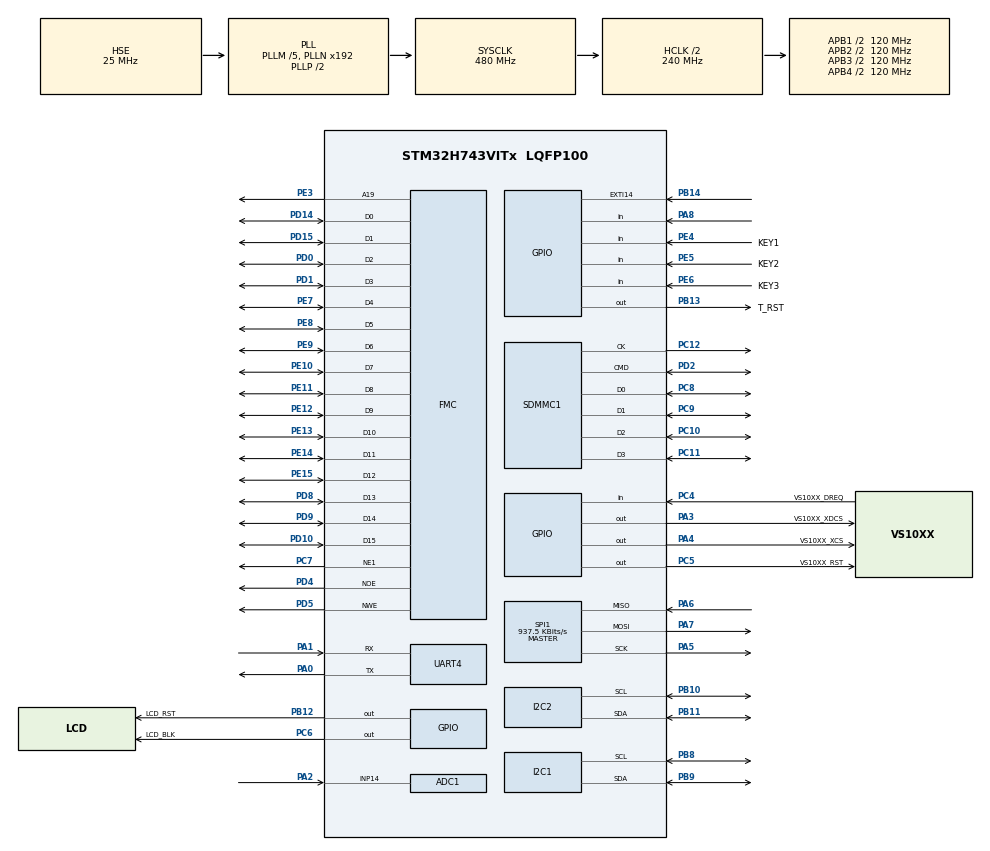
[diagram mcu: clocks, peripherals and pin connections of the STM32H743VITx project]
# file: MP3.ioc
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ADC1.Channel-0\#ChannelRegularConversion=ADC_CHANNEL_14
ADC1.ClockPrescaler=ADC_CLOCK_ASYNC_DIV10
ADC1.NbrOfConversionFlag=1
ADC1.OffsetNumber-0\#ChannelRegularConversion=ADC_OFFSET_NONE
ADC1.OffsetSignedSaturation-0\#ChannelRegularConversion=DISABLE
ADC1.Rank-0\#ChannelRegularConversion=1
ADC1.Resolution=ADC_RESOLUTION_12B
ADC1.SamplingTime-0\#ChannelRegularConversion=ADC_SAMPLETIME_16CYCLES_5
ADC1.master=1
CORTEX_M7.AccessPermission_Spec=MPU_REGION_FULL_ACCESS
CORTEX_M7.BaseAddress_Spec=0x60000000
CORTEX_M7.CPU_ICache=Enabled
CORTEX_M7.DisableExec_Spec=MPU_INSTRUCTION_ACCESS_ENABLE
CORTEX_M7.IsBufferable_Spec=MPU_ACCESS_BUFFERABLE
CORTEX_M7.IsCacheable_Spec=MPU_ACCESS_NOT_CACHEABLE
CORTEX_M7.IsShareable_Spec=MPU_ACCESS_NOT_SHAREABLE
CORTEX_M7.Size_Spec=MPU_REGION_SIZE_16MB
CORTEX_M7.SubRegionDisable_Spec=0x0
CORTEX_M7.default_mode_Activation=1
Dma.MEMTOMEM.0.Direction=DMA_MEMORY_TO_MEMORY
Dma.MEMTOMEM.0.EventEnable=DISABLE
Dma.MEMTOMEM.0.FIFOMode=DMA_FIFOMODE_ENABLE
Dma.MEMTOMEM.0.FIFOThreshold=DMA_FIFO_THRESHOLD_FULL
Dma.MEMTOMEM.0.Instance=DMA1_Stream4
Dma.MEMTOMEM.0.MemBurst=DMA_MBURST_SINGLE
Dma.MEMTOMEM.0.MemDataAlignment=DMA_MDATAALIGN_HALFWORD
Dma.MEMTOMEM.0.MemInc=DMA_MINC_ENABLE
Dma.MEMTOMEM.0.Mode=DMA_NORMAL
Dma.MEMTOMEM.0.PeriphBurst=DMA_PBURST_SINGLE
Dma.MEMTOMEM.0.PeriphDataAlignment=DMA_PDATAALIGN_HALFWORD
Dma.MEMTOMEM.0.PeriphInc=DMA_PINC_ENABLE
Dma.MEMTOMEM.0.Polarity=HAL_DMAMUX_REQ_GEN_RISING
Dma.MEMTOMEM.0.Priority=DMA_PRIORITY_VERY_HIGH
Dma.MEMTOMEM.0.RequestNumber=1
Dma.MEMTOMEM.0.SignalID=NONE
Dma.MEMTOMEM.0.SyncEnable=DISABLE
Dma.MEMTOMEM.0.SyncPolarity=HAL_DMAMUX_SYNC_NO_EVENT
Dma.MEMTOMEM.0.SyncRequestNumber=1
Dma.MEMTOMEM.0.SyncSignalID=NONE
Dma.Request0=MEMTOMEM
FATFS.BSP.number=1
FATFS._CODE_PAGE=936
FATFS._USE_LFN=2
FATFS0.BSP.STBoard=false
FATFS0.BSP.api=Unknown
FATFS0.BSP.instance=PA8
FATFS0.BSP.ip=GPIO
FATFS0.BSP.mode=Input
FATFS0.BSP.name=Detect_SDIO
FATFS0.BSP.solution=PA8
FMC.AddressSetupTime1=10
FMC.DataSetupTime1=60
FMC.ExtendedAddressSetupTime1=9
FMC.ExtendedBusTurnAroundDuration1=0
FMC.ExtendedDataSetupTime1=10
FMC.ExtendedMode1=FMC_EXTENDED_MODE_ENABLE
FREERTOS.Mutexes01=SensorMutex,Dynamic,NULL,Available
FREERTOS.Queues01=PlayerCmdQueue,8,player_msg_t,0,Dynamic,NULL,NULL
FREERTOS.Tasks01=defaultTask,8,128,StartDefaultTask,Default,NULL,Dynamic,NULL,NULL;FileReadTask,40,1024,StartFileReadTask,Default,NULL,Dynamic,NULL,NULL;AudioPlayTask,48,512,StartAudioPlayTask,Default,NULL,Dynamic,NULL,NULL;GuiUpdateTask,16,1024,StartGuiUpdateTask,Default,NULL,Dynamic,NULL,NULL;TouchTask,32,128,StartTouchTask,Default,NULL,Dynamic,NULL,NULL;KeyScanTask,24,128,StartKeyScanTask,Default,NULL,Dynamic,NULL,NULL;SensorTask,15,512,StartSensorTask,Default,NULL,Dynamic,NULL,NULL;RtcTask,8,128,StartRtcTask,Default,NULL,Dynamic,NULL,NULL;ControlTask,24,512,StartControlTask,Default,NULL,Dynamic,NULL,NULL
FREERTOS.Timers01=PlayerTimer,CallbackPlayerTimer,osTimerOnce,Default,NULL,Dynamic,NULL
FREERTOS.configTOTAL_HEAP_SIZE=65536
FREERTOS.configUSE_NEWLIB_REENTRANT=1
FREERTOS.configUSE_TICK_HOOK=1
I2C1.Timing=0x307075B1
I2C2.Timing=0x307075B1
Mcu.Family=STM32H7
Mcu.Name=STM32H743VITx
Mcu.Package=LQFP100
Mdma.MDMA_Channel0.Request0=SDMMC1_END_DATA
Mdma.MDMA_Channel0.RequestsNb=1
Mdma.MDMA_Channel0.SDMMC1_END_DATA.0.BlockCount=0
Mdma.MDMA_Channel0.SDMMC1_END_DATA.0.BlockDataLength=0
Mdma.MDMA_Channel0.SDMMC1_END_DATA.0.BufferTransferLength=1
Mdma.MDMA_Channel0.SDMMC1_END_DATA.0.CircularMode=MDMA_LINEAR_LIST
Mdma.MDMA_Channel0.SDMMC1_END_DATA.0.DataAlignment=MDMA_DATAALIGN_PACKENABLE
Mdma.MDMA_Channel0.SDMMC1_END_DATA.0.DestBlockAddressOffset=0
Mdma.MDMA_Channel0.SDMMC1_END_DATA.0.DestBurst=MDMA_DEST_BURST_SINGLE
Mdma.MDMA_Channel0.SDMMC1_END_DATA.0.DestDataSize=MDMA_DEST_DATASIZE_BYTE
Mdma.MDMA_Channel0.SDMMC1_END_DATA.0.DestinationInc=MDMA_DEST_INC_BYTE
Mdma.MDMA_Channel0.SDMMC1_END_DATA.0.DstAddress=0
Mdma.MDMA_Channel0.SDMMC1_END_DATA.0.Endianness=MDMA_LITTLE_ENDIANNESS_PRESERVE
Mdma.MDMA_Channel0.SDMMC1_END_DATA.0.Instance=MDMA_Channel0
Mdma.MDMA_Channel0.SDMMC1_END_DATA.0.MaskAddress=0
Mdma.MDMA_Channel0.SDMMC1_END_DATA.0.MaskData=0
Mdma.MDMA_Channel0.SDMMC1_END_DATA.0.Priority=MDMA_PRIORITY_LOW
Mdma.MDMA_Channel0.SDMMC1_END_DATA.0.Rank=First
Mdma.MDMA_Channel0.SDMMC1_END_DATA.0.SourceBlockAddressOffset=0
Mdma.MDMA_Channel0.SDMMC1_END_DATA.0.SourceBurst=MDMA_SOURCE_BURST_SINGLE
Mdma.MDMA_Channel0.SDMMC1_END_DATA.0.SourceDataSize=MDMA_SRC_DATASIZE_BYTE
Mdma.MDMA_Channel0.SDMMC1_END_DATA.0.SourceInc=MDMA_SRC_INC_BYTE
Mdma.MDMA_Channel0.SDMMC1_END_DATA.0.SrcAddress=0
Mdma.MDMA_Channel0.SDMMC1_END_DATA.0.TransferTriggerMode=MDMA_BUFFER_TRANSFER
Mdma.RequestSet0=MDMA_Channel0
Mdma.RequestSetsNb=1
NVIC.DMA1_Stream4_IRQn=true\:1\:0\:true\:false\:true\:false\:true\:true\:true
NVIC.EXTI15_10_IRQn=true\:6\:0\:true\:false\:true\:true\:true\:true\:true
NVIC.MDMA_IRQn=true\:5\:0\:false\:false\:true\:true\:false\:true\:true
NVIC.PriorityGroup=NVIC_PRIORITYGROUP_4
NVIC.RTC_Alarm_IRQn=true\:5\:0\:false\:false\:true\:true\:true\:true\:true
NVIC.SDMMC1_IRQn=true\:5\:0\:false\:false\:true\:true\:true\:true\:true
NVIC.TIM6_DAC_IRQn=true\:15\:0\:false\:false\:true\:false\:false\:true\:true
NVIC.TimeBase=TIM6_DAC_IRQn
NVIC.TimeBaseIP=TIM6
PA0.Mode=Asynchronous
PA0.Signal=UART4_TX
PA1.Mode=Asynchronous
PA1.Signal=UART4_RX
PA13\ (JTMS/SWDIO).Mode=Serial_Wire
PA13\ (JTMS/SWDIO).Signal=DEBUG_JTMS-SWDIO
PA14\ (JTCK/SWCLK).Mode=Serial_Wire
PA14\ (JTCK/SWCLK).Signal=DEBUG_JTCK-SWCLK
PA2.Signal=ADCx_INP14
PA3.GPIO_Label=VS10XX_XDCS
PA3.PinState=GPIO_PIN_SET
PA3.Signal=GPIO_Output
PA4.GPIO_Label=VS10XX_XCS
PA4.PinState=GPIO_PIN_SET
PA4.Signal=GPIO_Output
PA5.Mode=Full_Duplex_Master
PA5.Signal=SPI1_SCK
PA6.Mode=Full_Duplex_Master
PA6.Signal=SPI1_MISO
PA7.Mode=Full_Duplex_Master
PA7.Signal=SPI1_MOSI
PA8.Signal=GPIO_Input
PB10.Mode=I2C
PB10.Signal=I2C2_SCL
PB11.Mode=I2C
PB11.Signal=I2C2_SDA
PB12.GPIO_Label=LCD_RST
PB12.Signal=GPIO_Output
PB13.GPIO_Label=T_RST
PB13.Signal=GPIO_Output
PB14.GPIO_ModeDefaultEXTI=GPIO_MODE_IT_FALLING
PB14.Signal=GPXTI14
PB8.Mode=I2C
PB8.Signal=I2C1_SCL
PB9.Mode=I2C
PB9.Signal=I2C1_SDA
PC10.Mode=SD_4_bits_Wide_bus
PC10.Signal=SDMMC1_D2
PC11.Mode=SD_4_bits_Wide_bus
PC11.Signal=SDMMC1_D3
PC12.Mode=SD_4_bits_Wide_bus
PC12.Signal=SDMMC1_CK
PC14-OSC32_IN\ (OSC32_IN).Mode=LSE-External-Oscillator
PC14-OSC32_IN\ (OSC32_IN).Signal=RCC_OSC32_IN
PC15-OSC32_OUT\ (OSC32_OUT).Mode=LSE-External-Oscillator
PC15-OSC32_OUT\ (OSC32_OUT).Signal=RCC_OSC32_OUT
PC4.GPIO_Label=VS10XX_DREQ
PC4.Signal=GPIO_Input
PC5.GPIO_Label=VS10XX_RST
PC5.Signal=GPIO_Output
PC6.GPIO_Label=LCD_BLK
PC6.Signal=GPIO_Output
PC7.Mode=NorPsramChipSelect1_1
PC7.Signal=FMC_NE1
PC8.Mode=SD_4_bits_Wide_bus
PC8.Signal=SDMMC1_D0
PC9.Mode=SD_4_bits_Wide_bus
PC9.Signal=SDMMC1_D1
PD0.Signal=FMC_D2_DA2
PD1.Signal=FMC_D3_DA3
PD10.Signal=FMC_D15_DA15
PD14.Signal=FMC_D0_DA0
PD15.Signal=FMC_D1_DA1
PD2.Mode=SD_4_bits_Wide_bus
PD2.Signal=SDMMC1_CMD
PD4.Signal=FMC_NOE
PD5.Signal=FMC_NWE
PD8.Signal=FMC_D13_DA13
PD9.Signal=FMC_D14_DA14
PE10.Signal=FMC_D7_DA7
PE11.Signal=FMC_D8_DA8
PE12.Signal=FMC_D9_DA9
PE13.Signal=FMC_D10_DA10
PE14.Signal=FMC_D11_DA11
PE15.Signal=FMC_D12_DA12
PE3.Signal=FMC_A19
PE4.GPIO_Label=KEY1
PE4.Signal=GPIO_Input
PE5.GPIO_Label=KEY2
PE5.Signal=GPIO_Input
PE6.GPIO_Label=KEY3
PE6.Signal=GPIO_Input
PE7.Signal=FMC_D4_DA4
PE8.Signal=FMC_D5_DA5
PE9.Signal=FMC_D6_DA6
PH0-OSC_IN\ (PH0).Mode=HSE-External-Oscillator
PH0-OSC_IN\ (PH0).Signal=RCC_OSC_IN
PH1-OSC_OUT\ (PH1).Mode=HSE-External-Oscillator
PH1-OSC_OUT\ (PH1).Signal=RCC_OSC_OUT
ProjectManager.HeapSize=0x1000
ProjectManager.StackSize=0x1500
ProjectManager.TargetToolchain=STM32CubeIDE
RCC.ADCCLockSelection=RCC_ADCCLKSOURCE_PLL3
RCC.ADCFreq_Value=100000000
RCC.APB1Freq_Value=120000000
RCC.APB2Freq_Value=120000000
RCC.APB3Freq_Value=120000000
RCC.APB4Freq_Value=120000000
RCC.CortexFreq_Value=480000000
RCC.D1PPRE=RCC_APB3_DIV2
RCC.D2PPRE1=RCC_APB1_DIV2
RCC.D2PPRE2=RCC_APB2_DIV2
RCC.D3PPRE=RCC_APB4_DIV2
RCC.DIVM1=5
RCC.DIVM2=5
RCC.DIVM3=5
RCC.DIVN1=192
RCC.DIVN2=192
RCC.DIVN3=100
RCC.DIVP3=5
RCC.DIVQ1=8
RCC.DIVQ2=10
RCC.DIVR2=8
RCC.DIVR3=5
RCC.HCLKFreq_Value=240000000
RCC.HPRE=RCC_HCLK_DIV2
RCC.PLLFRACN=0
RCC.PLLSourceVirtual=RCC_PLLSOURCE_HSE
RCC.RTCClockSelection=RCC_RTCCLKSOURCE_LSE
RCC.SDMMC1CLockSelection=RCC_SDMMCCLKSOURCE_PLL2
RCC.SYSCLKFreq_VALUE=480000000
RCC.SYSCLKSource=RCC_SYSCLKSOURCE_PLLCLK
RCC.USBFreq_Value=120000000
RTC.Alarm-Alarm\ A=RTC_ALARM_A
RTC.AlarmMaskDateWeekDay-Alarm\ A=RTC_ALARMMASK_DATEWEEKDAY
RTC.AlarmMaskHours-Alarm\ A=RTC_ALARMMASK_HOURS
RTC.AlarmMaskMinutes-Alarm\ A=RTC_ALARMMASK_MINUTES
RTC.Date=26
RTC.Hours=12
RTC.Minutes=10
RTC.Month=RTC_MONTH_MARCH
RTC.Seconds_A-Alarm\ A=12
RTC.WeekDay=RTC_WEEKDAY_THURSDAY
RTC.Year=26
SDMMC1.ClockDiv=5
SH.ADCx_INP14.0=ADC1_INP14,IN14-Single-Ended
SH.FMC_A19.0=FMC_A19,A19_1
SH.FMC_D0_DA0.0=FMC_D0,16b-d1
SH.FMC_D10_DA10.0=FMC_D10,16b-d1
SH.FMC_D11_DA11.0=FMC_D11,16b-d1
SH.FMC_D12_DA12.0=FMC_D12,16b-d1
SH.FMC_D13_DA13.0=FMC_D13,16b-d1
SH.FMC_D14_DA14.0=FMC_D14,16b-d1
SH.FMC_D15_DA15.0=FMC_D15,16b-d1
SH.FMC_D1_DA1.0=FMC_D1,16b-d1
SH.FMC_D2_DA2.0=FMC_D2,16b-d1
SH.FMC_D3_DA3.0=FMC_D3,16b-d1
SH.FMC_D4_DA4.0=FMC_D4,16b-d1
SH.FMC_D5_DA5.0=FMC_D5,16b-d1
SH.FMC_D6_DA6.0=FMC_D6,16b-d1
SH.FMC_D7_DA7.0=FMC_D7,16b-d1
SH.FMC_D8_DA8.0=FMC_D8,16b-d1
SH.FMC_D9_DA9.0=FMC_D9,16b-d1
SH.FMC_NOE.0=FMC_NOE,Lcd1
SH.FMC_NWE.0=FMC_NWE,Lcd1
SPI1.BaudRatePrescaler=SPI_BAUDRATEPRESCALER_128
SPI1.CLKPhase=SPI_PHASE_2EDGE
SPI1.CLKPolarity=SPI_POLARITY_HIGH
SPI1.CalculateBaudRate=937.5 KBits/s
SPI1.DataSize=SPI_DATASIZE_8BIT
SPI1.Direction=SPI_DIRECTION_2LINES
SPI1.Mode=SPI_MODE_MASTER
SPI1.NSSPMode=SPI_NSS_PULSE_DISABLE
SPI1.VirtualType=VM_MASTER
VP_FATFS_VS_SDIO.Mode=SDIO
VP_FREERTOS_VS_CMSIS_V2.Mode=CMSIS_V2
VP_MEMORYMAP_VS_MEMORYMAP.Mode=CurAppReg
VP_RTC_VS_RTC_Activate.Mode=RTC_Enabled
VP_RTC_VS_RTC_Alarm_A_Intern.Mode=Alarm A
VP_RTC_VS_RTC_Calendar.Mode=RTC_Calendar
VP_SYS_VS_tim6.Mode=TIM6
board=custom

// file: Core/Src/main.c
/* USER CODE BEGIN Header */
/**
  ******************************************************************************
  * @file           : main.c
  * @brief          : Main program body
  ******************************************************************************
  * @attention
  *
  * Copyright (c) 2026 STMicroelectronics.
  * All rights reserved.
  *
  * This software is licensed under terms that can be found in the LICENSE file
  * in the root directory of this software component.
  * If no LICENSE file comes with this software, it is provided AS-IS.
  *
  ******************************************************************************
  */
/* USER CODE END Header */
#include "main.h"
#include "FreeRTOS.h"
#include "cmsis_os2.h"
#include "adc.h"
#include "dma.h"
#include "fatfs.h"
#include "i2c.h"
#include "mdma.h"
#include "rtc.h"
#include "sdmmc.h"
#include "spi.h"
#include "usart.h"
#include "gpio.h"
#include "fmc.h"

/* USER CODE BEGIN Includes */
#include "debug_uart.h"

#include "task.h"
#include "lvgl.h"
#include "lv_port_disp.h"
#include "lv_port_indev.h"

/* USER CODE END Includes */

/* USER CODE BEGIN PV */
extern osThreadId_t TouchTaskHandle;
extern osThreadId_t RtcTaskHandle;
/* USER CODE END PV */

void SystemClock_Config(void);
static void MPU_Config(void);
void MX_FREERTOS_Init(void);

int main(void)
{

  /* MPU Configuration--------------------------------------------------------*/
  MPU_Config();

  /* Enable the CPU Cache */

  /* Enable I-Cache---------------------------------------------------------*/
  SCB_EnableICache();

  /* MCU Configuration--------------------------------------------------------*/

  /* Reset of all peripherals, Initializes the Flash interface and the Systick. */
  HAL_Init();

  /* Configure the system clock */
  SystemClock_Config();

  /* Initialize all configured peripherals */
  MX_GPIO_Init();
  MX_MDMA_Init();
  MX_DMA_Init();
  MX_SDMMC1_SD_Init();
  MX_UART4_Init();
  MX_FATFS_Init();
  MX_ADC1_Init();
  MX_FMC_Init();
  MX_I2C1_Init();
  MX_I2C2_Init();
  MX_SPI1_Init();
  MX_RTC_Init();
  /* USER CODE BEGIN 2 */
  DMA_Register();
  lv_init();
  lv_port_disp_init();
  lv_port_indev_init();
  /* USER CODE END 2 */

  /* Init scheduler */
  osKernelInitialize();  /* Call init function for freertos objects (in cmsis_os2.c) */
  MX_FREERTOS_Init();

  /* Start scheduler */
  osKernelStart();

  /* We should never get here as control is now taken by the scheduler */

  /* Infinite loop */
  while (1)
  {

  }
}

void SystemClock_Config(void)
{
  RCC_OscInitTypeDef RCC_OscInitStruct = {0};
  RCC_ClkInitTypeDef RCC_ClkInitStruct = {0};

  /** Supply configuration update enable
  */
  HAL_PWREx_ConfigSupply(PWR_LDO_SUPPLY);

  /** Configure the main internal regulator output voltage
  */
  __HAL_PWR_VOLTAGESCALING_CONFIG(PWR_REGULATOR_VOLTAGE_SCALE0);

  while(!__HAL_PWR_GET_FLAG(PWR_FLAG_VOSRDY)) {}

  /** Configure LSE Drive Capability
  */
  HAL_PWR_EnableBkUpAccess();
  __HAL_RCC_LSEDRIVE_CONFIG(RCC_LSEDRIVE_LOW);

  /** Initializes the RCC Oscillators according to the specified parameters
  * in the RCC_OscInitTypeDef structure.
  */
  RCC_OscInitStruct.OscillatorType = RCC_OSCILLATORTYPE_HSE|RCC_OSCILLATORTYPE_LSE;
  RCC_OscInitStruct.HSEState = RCC_HSE_ON;
  RCC_OscInitStruct.LSEState = RCC_LSE_ON;
  RCC_OscInitStruct.PLL.PLLState = RCC_PLL_ON;
  RCC_OscInitStruct.PLL.PLLSource = RCC_PLLSOURCE_HSE;
  RCC_OscInitStruct.PLL.PLLM = 5;
  RCC_OscInitStruct.PLL.PLLN = 192;
  RCC_OscInitStruct.PLL.PLLP = 2;
  RCC_OscInitStruct.PLL.PLLQ = 8;
  RCC_OscInitStruct.PLL.PLLR = 2;
  RCC_OscInitStruct.PLL.PLLRGE = RCC_PLL1VCIRANGE_2;
  RCC_OscInitStruct.PLL.PLLVCOSEL = RCC_PLL1VCOWIDE;
  RCC_OscInitStruct.PLL.PLLFRACN = 0;
  if (HAL_RCC_OscConfig(&RCC_OscInitStruct) != HAL_OK)
  {
    Error_Handler();
  }

  /** Initializes the CPU, AHB and APB buses clocks
  */
  RCC_ClkInitStruct.ClockType = RCC_CLOCKTYPE_HCLK|RCC_CLOCKTYPE_SYSCLK
                              |RCC_CLOCKTYPE_PCLK1|RCC_CLOCKTYPE_PCLK2
                              |RCC_CLOCKTYPE_D3PCLK1|RCC_CLOCKTYPE_D1PCLK1;
  RCC_ClkInitStruct.SYSCLKSource = RCC_SYSCLKSOURCE_PLLCLK;
  RCC_ClkInitStruct.SYSCLKDivider = RCC_SYSCLK_DIV1;
  RCC_ClkInitStruct.AHBCLKDivider = RCC_HCLK_DIV2;
  RCC_ClkInitStruct.APB3CLKDivider = RCC_APB3_DIV2;
  RCC_ClkInitStruct.APB1CLKDivider = RCC_APB1_DIV2;
  RCC_ClkInitStruct.APB2CLKDivider = RCC_APB2_DIV2;
  RCC_ClkInitStruct.APB4CLKDivider = RCC_APB4_DIV2;

  if (HAL_RCC_ClockConfig(&RCC_ClkInitStruct, FLASH_LATENCY_4) != HAL_OK)
  {
    Error_Handler();
  }
}

/* USER CODE BEGIN 4 */
void HAL_GPIO_EXTI_Callback(uint16_t GPIO_Pin)
{
  if (GPIO_Pin == GPIO_PIN_14) {
    BaseType_t xHigherPriorityTaskWoken = pdFALSE;
    if (TouchTaskHandle != NULL) {
      vTaskNotifyGiveFromISR(TouchTaskHandle, &xHigherPriorityTaskWoken);
    }
    portYIELD_FROM_ISR(xHigherPriorityTaskWoken);
  }
}

void HAL_RTC_AlarmAEventCallback(RTC_HandleTypeDef *hrtc)
{
  BaseType_t xHigherPriorityTaskWoken = pdFALSE;

  if (RtcTaskHandle != NULL) {
    vTaskNotifyGiveFromISR(RtcTaskHandle, &xHigherPriorityTaskWoken);
  }

  portYIELD_FROM_ISR(xHigherPriorityTaskWoken);
}
/* USER CODE END 4 */

 /* MPU Configuration */

void MPU_Config(void)
{
  MPU_Region_InitTypeDef MPU_InitStruct = {0};

  /* Disables the MPU */
  HAL_MPU_Disable();

  /** Initializes and configures the Region and the memory to be protected
  */
  MPU_InitStruct.Enable = MPU_REGION_ENABLE;
  MPU_InitStruct.Number = MPU_REGION_NUMBER0;
  MPU_InitStruct.BaseAddress = 0x60000000;
  MPU_InitStruct.Size = MPU_REGION_SIZE_16MB;
  MPU_InitStruct.SubRegionDisable = 0x0;
  MPU_InitStruct.TypeExtField = MPU_TEX_LEVEL0;
  MPU_InitStruct.AccessPermission = MPU_REGION_FULL_ACCESS;
  MPU_InitStruct.DisableExec = MPU_INSTRUCTION_ACCESS_ENABLE;
  MPU_InitStruct.IsShareable = MPU_ACCESS_NOT_SHAREABLE;
  MPU_InitStruct.IsCacheable = MPU_ACCESS_NOT_CACHEABLE;
  MPU_InitStruct.IsBufferable = MPU_ACCESS_BUFFERABLE;

  HAL_MPU_ConfigRegion(&MPU_InitStruct);
  /* Enables the MPU */
  HAL_MPU_Enable(MPU_PRIVILEGED_DEFAULT);

}

void HAL_TIM_PeriodElapsedCallback(TIM_HandleTypeDef *htim)
{
  if (htim->Instance == TIM6)
  {
    HAL_IncTick();
  }
}

void Error_Handler(void)
{
  __disable_irq();
  while (1)
  {
  }
}

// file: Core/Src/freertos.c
/* USER CODE BEGIN Header */
/**
 ******************************************************************************
 * File Name          : freertos.c
 * Description        : Code for freertos applications
 ******************************************************************************
 * @attention
 *
 * Copyright (c) 2026 STMicroelectronics.
 * All rights reserved.
 *
 * This software is licensed under terms that can be found in the LICENSE file
 * in the root directory of this software component.
 * If no LICENSE file comes with this software, it is provided AS-IS.
 *
 ******************************************************************************
 */
/* USER CODE END Header */

#include "FreeRTOS.h"
#include "task.h"
#include "main.h"
#include "FreeRTOS.h"
#include "cmsis_os2.h"

/* USER CODE BEGIN Includes */
#include "debug_uart.h"
#include "fatfs.h"
#include "rtc.h"
#include "lwrb.h"
#include "mp3_player.h"
#include "gbk2utf8.h"

#include "lvgl.h"
#include "gui_guider.h"
#include "events_init.h"
#include "touch.h"

#include "vs1053.h"
#include "key.h"
#include "sht30.h"
#include "voltage.h"
/* USER CODE END Includes */

/* USER CODE BEGIN Variables */
FATFS   fs;
lv_ui   guider_ui;
/* Music Data Buffer */
lwrb_t  MusicBuffer;
uint8_t MusicBufferData[4096];

/* USER CODE END Variables */
/* Definitions for defaultTask */
osThreadId_t defaultTaskHandle;
const osThreadAttr_t defaultTask_attributes = {
  .name = "defaultTask",
  .stack_size = 128 * 4,
  .priority = (osPriority_t) osPriorityLow,
};
/* Definitions for FileReadTask */
osThreadId_t FileReadTaskHandle;
const osThreadAttr_t FileReadTask_attributes = {
  .name = "FileReadTask",
  .stack_size = 1024 * 4,
  .priority = (osPriority_t) osPriorityHigh,
};
/* Definitions for AudioPlayTask */
osThreadId_t AudioPlayTaskHandle;
const osThreadAttr_t AudioPlayTask_attributes = {
  .name = "AudioPlayTask",
  .stack_size = 512 * 4,
  .priority = (osPriority_t) osPriorityRealtime,
};
/* Definitions for GuiUpdateTask */
osThreadId_t GuiUpdateTaskHandle;
const osThreadAttr_t GuiUpdateTask_attributes = {
  .name = "GuiUpdateTask",
  .stack_size = 1024 * 4,
  .priority = (osPriority_t) osPriorityBelowNormal,
};
/* Definitions for TouchTask */
osThreadId_t TouchTaskHandle;
const osThreadAttr_t TouchTask_attributes = {
  .name = "TouchTask",
  .stack_size = 128 * 4,
  .priority = (osPriority_t) osPriorityAboveNormal,
};
/* Definitions for KeyScanTask */
osThreadId_t KeyScanTaskHandle;
const osThreadAttr_t KeyScanTask_attributes = {
  .name = "KeyScanTask",
  .stack_size = 128 * 4,
  .priority = (osPriority_t) osPriorityNormal,
};
/* Definitions for SensorTask */
osThreadId_t SensorTaskHandle;
const osThreadAttr_t SensorTask_attributes = {
  .name = "SensorTask",
  .stack_size = 512 * 4,
  .priority = (osPriority_t) osPriorityLow7,
};
/* Definitions for RtcTask */
osThreadId_t RtcTaskHandle;
const osThreadAttr_t RtcTask_attributes = {
  .name = "RtcTask",
  .stack_size = 128 * 4,
  .priority = (osPriority_t) osPriorityLow,
};
/* Definitions for ControlTask */
osThreadId_t ControlTaskHandle;
const osThreadAttr_t ControlTask_attributes = {
  .name = "ControlTask",
  .stack_size = 512 * 4,
  .priority = (osPriority_t) osPriorityNormal,
};
/* Definitions for PlayerCmdQueue */
osMessageQueueId_t PlayerCmdQueueHandle;
const osMessageQueueAttr_t PlayerCmdQueue_attributes = {
  .name = "PlayerCmdQueue"
};
/* Definitions for PlayerTimer */
osTimerId_t PlayerTimerHandle;
const osTimerAttr_t PlayerTimer_attributes = {
  .name = "PlayerTimer"
};
/* Definitions for SensorMutex */
osMutexId_t SensorMutexHandle;
const osMutexAttr_t SensorMutex_attributes = {
  .name = "SensorMutex"
};

void StartDefaultTask(void *argument);
void StartFileReadTask(void *argument);
void StartAudioPlayTask(void *argument);
void StartGuiUpdateTask(void *argument);
void StartTouchTask(void *argument);
void StartKeyScanTask(void *argument);
void StartSensorTask(void *argument);
void StartRtcTask(void *argument);
void StartControlTask(void *argument);
void CallbackPlayerTimer(void *argument);

void MX_FREERTOS_Init(void); /* (MISRA C 2004 rule 8.1) */

/* Hook prototypes */
void vApplicationTickHook(void);

/* USER CODE BEGIN 3 */
void vApplicationTickHook(void)
{
  /* This function will be called by each tick interrupt if
  configUSE_TICK_HOOK is set to 1 in FreeRTOSConfig.h. User code can be
  added here, but the tick hook is called from an interrupt context, so
  code must not attempt to block, and only the interrupt safe FreeRTOS API
  functions can be used (those that end in FromISR()). */
  lv_tick_inc(1);
}
/* USER CODE END 3 */

void MX_FREERTOS_Init(void) {
  /* Create the mutex(es) */
  /* creation of SensorMutex */
  SensorMutexHandle = osMutexNew(&SensorMutex_attributes);

  /* Create the timer(s) */
  /* creation of PlayerTimer */
  PlayerTimerHandle = osTimerNew(CallbackPlayerTimer, osTimerOnce, NULL, &PlayerTimer_attributes);

  /* Create the queue(s) */
  /* creation of PlayerCmdQueue */
  PlayerCmdQueueHandle = osMessageQueueNew (8, sizeof(player_msg_t), &PlayerCmdQueue_attributes);

  /* Create the thread(s) */
  /* creation of defaultTask */
  defaultTaskHandle = osThreadNew(StartDefaultTask, NULL, &defaultTask_attributes);

  /* creation of FileReadTask */
  FileReadTaskHandle = osThreadNew(StartFileReadTask, NULL, &FileReadTask_attributes);

  /* creation of AudioPlayTask */
  AudioPlayTaskHandle = osThreadNew(StartAudioPlayTask, NULL, &AudioPlayTask_attributes);

  /* creation of GuiUpdateTask */
  GuiUpdateTaskHandle = osThreadNew(StartGuiUpdateTask, NULL, &GuiUpdateTask_attributes);

  /* creation of TouchTask */
  TouchTaskHandle = osThreadNew(StartTouchTask, NULL, &TouchTask_attributes);

  /* creation of KeyScanTask */
  KeyScanTaskHandle = osThreadNew(StartKeyScanTask, NULL, &KeyScanTask_attributes);

  /* creation of SensorTask */
  SensorTaskHandle = osThreadNew(StartSensorTask, NULL, &SensorTask_attributes);

  /* creation of RtcTask */
  RtcTaskHandle = osThreadNew(StartRtcTask, NULL, &RtcTask_attributes);

  /* creation of ControlTask */
  ControlTaskHandle = osThreadNew(StartControlTask, NULL, &ControlTask_attributes);

}

void StartDefaultTask(void *argument)
{
  /* USER CODE BEGIN StartDefaultTask */
  /* Infinite loop */
  for (;;) {
    if (g_player.state == PLAYER_PLAY) {
      osDelay(pdMS_TO_TICKS(1000));
      ui_data.cur_time++;
      if (ui_data.cur_time >= ui_data.total_time) {
        ui_data.cur_time = ui_data.total_time;
      }
      ui_data.dirty_flag |= UI_DIRTY_PROGRESS;
      xTaskNotifyGive(GuiUpdateTaskHandle);
    } else osDelay(100);
  }
  /* USER CODE END StartDefaultTask */
}

void StartFileReadTask(void *argument)
{
  /* USER CODE BEGIN StartFileReadTask */
  FRESULT        res;
  FIL            fmp3; // 文件对象
  UINT           br;

  lwrb_sz_t      write_len;
  uint8_t        sd_buf[1024];

  static uint8_t file_opened = 0;

  lwrb_init(&MusicBuffer, MusicBufferData, sizeof(MusicBufferData));

  res = f_mount(&fs, "0:", 1); // 立即挂载
  if (res != FR_OK) {
    u4_printf("sd err\n");
  }
  ScanMusicFiles("0:/Music");

  Player_SwitchTo(0);
  /* Infinite loop */
  for (;;) {
    /*  0. 处理“拖动进度条（seek）请求”  */
    // if (g_player.need_seek && file_opened) {

    //   g_player.need_seek = 0;

    //   // 停止当前解码（非常关键）
    //   atk_mo1053_soft_reset(); // 或 restart_play()

    //   // 移动文件指针
    //   f_lseek(&fmp3, g_player.seek_pos);

    //   // 清空环形缓冲区
    //   lwrb_reset(&MusicBuffer);

    //   //（可选）更新时间
    //   ui_data.cur_time = (g_player.seek_pos * ui_data.total_time) / song_list[g_player.current_index].size;
    //   ui_data.dirty_flag |= UI_DIRTY_TIME;
    //   xTaskNotifyGive(GuiUpdateTaskHandle);
    // }

    /* 1. 处理“切歌请求” */
    if (g_player.need_open) {
      g_player.need_open = 0;
      if (file_opened) {
        f_close(&fmp3);
        file_opened = 0;
      }

      lwrb_reset(&MusicBuffer); // 清空缓冲区

      res = f_open(&fmp3, song_list[g_player.current_index].path, FA_READ);
      song_list[g_player.current_index].size = f_size(&fmp3);
      // 通知 lvgl 任务刷新歌曲名字和作者
      str_gbk2utf8(song_list[g_player.current_index].title, ui_data.title);
      str_gbk2utf8(song_list[g_player.current_index].artist, ui_data.artist);
      ui_data.dirty_flag |= UI_DIRTY_TITLE;
      xTaskNotifyGive(GuiUpdateTaskHandle);

      osTimerStart(PlayerTimerHandle, 5000);

      if (res != FR_OK) {
        u4_printf("file open err\n");
      }
      file_opened = 1;
      // 重启解码器
      atk_mo1053_restart_play();
      Player_SetVolume(g_player.volume); /* 设置音量 */
      atk_mo1053_set_all();
      atk_mo1053_reset_decode_time();
      if (strstr(song_list[g_player.current_index].path, ".flac")
          || strstr(song_list[g_player.current_index].path, ".FLAC")) {
        atk_mo1053_load_patch((uint16_t *)vs1053b_patch, VS1053B_PATCHLEN); // 加载 MP3 补丁
      }

      g_player.state = PLAYER_PLAY;

      // 预填充 buffer（避免卡顿）
      while (lwrb_get_free(&MusicBuffer) >= 1024) {
        f_read(&fmp3, sd_buf, sizeof(sd_buf), &br);
        if (br > 0) {
          lwrb_write(&MusicBuffer, sd_buf, br);
        } else {
          break;
        }
      }
      xTaskNotifyGive(AudioPlayTaskHandle);
      ui_data.cur_time = 0;
    }
    /* 2. 正常播放状态 */
    if (g_player.state == PLAYER_PLAY && file_opened) {
      // buffer 不满才读
      if (lwrb_get_free(&MusicBuffer) >= 1024) {
        if (f_read(&fmp3, sd_buf, sizeof(sd_buf), &br) == FR_OK) {
          if (br > 0) {
            lwrb_write_ex(&MusicBuffer, sd_buf, sizeof(sd_buf), &write_len, LWRB_FLAG_WRITE_ALL);
          } else {
            g_player.state = PLAYER_STOP;
          }
        }
      } else osDelay(3);
    }
    /* 3. 暂停状态 */
    else if (g_player.state == PLAYER_PAUSE) {
      osDelay(100);
    }

    /* 4. 停止状态 */
    else {
      Player_SwitchTo(Player_GetNextIndex());
      osDelay(100);
    }
  }
  /* USER CODE END StartFileReadTask */
}

void StartAudioPlayTask(void *argument)
{
  /* USER CODE BEGIN StartAudioPlayTask */
  uint8_t   data[32];
  lwrb_sz_t read_len;
  atk_mo1053_init();
  ulTaskNotifyTake(pdTRUE, portMAX_DELAY);
  atk_mo1053_spi_speed_high();
  /* Infinite loop */
  for (;;) {
    if (VS10XX_DQ == 0) {
      osDelay(1);
      continue;
    }
    if (lwrb_read_ex(&MusicBuffer, data, 32, &read_len, LWRB_FLAG_READ_ALL)) {
      atk_mo1053_send_music_data(data);
    } else {
      osDelay(1);
    }
  }
  /* USER CODE END StartAudioPlayTask */
}

void StartGuiUpdateTask(void *argument)
{
  /* USER CODE BEGIN StartGuiUpdateTask */
  setup_ui(&guider_ui);
  events_init(&guider_ui);
  /* Infinite loop */
  for (;;) {
    lv_timer_handler();
    /* 等待通知 */
    if (ulTaskNotifyTake(pdTRUE, pdMS_TO_TICKS(100))) {
      uint32_t flag = ui_data.dirty_flag;

      /* 清除标志 */
      ui_data.dirty_flag = 0;

      if (flag & UI_DIRTY_TIME) {
        lv_label_set_text_fmt(guider_ui.screen_text_total, "%02ld:%02ld", ui_data.total_time / 60, ui_data.total_time % 60);
        lv_bar_set_range(guider_ui.screen_slider_song, 0, ui_data.total_time);

      }

      if (flag & UI_DIRTY_PROGRESS) {
        lv_label_set_text_fmt(guider_ui.screen_text_now, "%02ld:%02ld", ui_data.cur_time / 60, ui_data.cur_time % 60);
        lv_bar_set_value(guider_ui.screen_slider_song, ui_data.cur_time, LV_ANIM_OFF);
      }

      if (flag & UI_DIRTY_TITLE) {
        lv_label_set_text(guider_ui.screen_label_title, ui_data.title);
        lv_label_set_text(guider_ui.screen_label_artist, ui_data.artist);
      }

      if (flag & UI_DIRTY_ENV) {
        lv_label_set_text_fmt(guider_ui.screen_label_env, "%dC %d%%", ui_data.temperature, ui_data.humidity);
        if (ui_data.battery >= 80) {
          lv_label_set_text(guider_ui.screen_label_battery, "" LV_SYMBOL_BATTERY_FULL " ");
        } else if (ui_data.battery >= 60) {
          lv_label_set_text(guider_ui.screen_label_battery, "" LV_SYMBOL_BATTERY_3 " ");
        } else if (ui_data.battery >= 40) {
          lv_label_set_text(guider_ui.screen_label_battery, "" LV_SYMBOL_BATTERY_1 " ");
        } else lv_label_set_text(guider_ui.screen_label_battery, "" LV_SYMBOL_BATTERY_EMPTY " ");

      }

      if (flag & UI_DIRTY_PLAYBTN) {
        lv_obj_add_state(guider_ui.screen_imgbtn_play, LV_STATE_CHECKED);
      }

      if (flag & UI_DIRTY_CLOCK) {
        lv_label_set_text_fmt(guider_ui.screen_label_clock, "%02d:%02d", ui_data.hour, ui_data.min);
      }

      if (flag & UI_DIRTY_LIST) {
        ui_music_list_update(&guider_ui);
        lv_label_set_text_fmt(guider_ui.screen_1_label_total, "共 %d 首 · 本地音乐", g_player.song_count);
      }
    }
    osDelay(5);
  }
  /* USER CODE END StartGuiUpdateTask */
}

void StartTouchTask(void *argument)
{
  /* USER CODE BEGIN StartTouchTask */
  /* Infinite loop */
  for (;;) {
    ulTaskNotifyTake(pdTRUE, portMAX_DELAY);
    tp_dev.scan(0);
    osDelay(50);
  }
  /* USER CODE END StartTouchTask */
}

void StartKeyScanTask(void *argument)
{
  /* USER CODE BEGIN StartKeyScanTask */
  KeyEvent_t key;
  Key_Init();
  player_msg_t msg;
  /* Infinite loop */
  for (;;) {
    key = Key_Scan();
    if (key.event != KEY_EVENT_NONE) {
      switch (key.key_id) {
        case 1:
          if (key.event == KEY_EVENT_SHORT) {
            msg.cmd = CMD_VOL_UP;
          } else {
            msg.cmd = CMD_NEXT;
          }
          break;
        case 2:
          if (key.event == KEY_EVENT_SHORT) {
            msg.cmd = CMD_PAUSE;
          } else {
            msg.cmd = CMD_PLAY;
          }
          break;
        case 3:
          if (key.event == KEY_EVENT_SHORT) {
            msg.cmd = CMD_VOL_DOWN;
          } else {
            msg.cmd = CMD_PREV;
          }
          break;
        default: break;
      }
      msg.param = 0;
      osMessageQueuePut(PlayerCmdQueueHandle, &msg, 0, 100);
    }
    osDelay(100);
  }
  /* USER CODE END StartKeyScanTask */
}

void StartSensorTask(void *argument)
{
  /* USER CODE BEGIN StartSensorTask */
  float humidity, temperature, voltage;
  ADC_Calibration();
  /* Infinite loop */
  for (;;) {
    // ulTaskNotifyTake(pdTRUE, portMAX_DELAY);
    osMutexAcquire(SensorMutexHandle, 0);
    if (!SHT30_Read(&humidity, &temperature)) {
      ui_data.temperature = temperature;
      ui_data.humidity = humidity;
    }
    voltage = ADC_ReadVoltage(&hadc1);
    osMutexRelease(SensorMutexHandle);
    ui_data.battery = voltage;
    u4_printf("%d\n", ui_data.battery);
    ui_data.dirty_flag |= UI_DIRTY_ENV;
    xTaskNotifyGive(GuiUpdateTaskHandle);
    osDelay(30000);
  }
  /* USER CODE END StartSensorTask */
}

void StartRtcTask(void *argument)
{
  /* USER CODE BEGIN StartRtcTask */
  RTC_TimeTypeDef time;
  RTC_DateTypeDef date;
  /* Infinite loop */
  for (;;) {
    ulTaskNotifyTake(pdTRUE, portMAX_DELAY);

    HAL_RTC_GetTime(&hrtc, &time, RTC_FORMAT_BIN);
    HAL_RTC_GetDate(&hrtc, &date, RTC_FORMAT_BIN);

    ui_data.hour = time.Hours;
    ui_data.min = time.Minutes;
    ui_data.dirty_flag |= UI_DIRTY_CLOCK;
    xTaskNotifyGive(GuiUpdateTaskHandle); // 通知lvgl任务刷新
  }
  /* USER CODE END StartRtcTask */
}

void StartControlTask(void *argument)
{
  /* USER CODE BEGIN StartControlTask */
  player_msg_t msg;
  /* Infinite loop */
  for (;;) {
    osMessageQueueGet(PlayerCmdQueueHandle, &msg, 0, osWaitForever);
    switch (msg.cmd) {
      case CMD_PLAY:
        g_player.state = PLAYER_PLAY;
        break;
      case CMD_PAUSE:
        g_player.state = PLAYER_PAUSE;
        break;
      case CMD_NEXT:
        Player_SwitchTo(Player_GetNextIndex());
        break;
      case CMD_PREV:
        Player_SwitchTo(Player_GetPrevIndex());
        break;
      case CMD_SET_INDEX:
        Player_SwitchTo((uint8_t)msg.param);
        break;
      case CMD_SET_MODE:
        g_player.mode = msg.param;
        break;
      case CMD_VOL_UP:
        if (g_player.volume < 20) {
          g_player.volume ++;
        }
        Player_SetVolume(g_player.volume);
        break;
      case CMD_VOL_DOWN:
        if (g_player.volume > 0) {
          g_player.volume --;
        }
        Player_SetVolume(g_player.volume);
        break;
      case CMD_SET_VOL:
        g_player.volume = msg.param;
        Player_SetVolume(g_player.volume);
        break;
      default: break;
    }

  }
  /* USER CODE END StartControlTask */
}

/* CallbackPlayerTimer function */
void CallbackPlayerTimer(void *argument)
{
  /* USER CODE BEGIN CallbackPlayerTimer */
  uint16_t bitrate_kbps = atk_mo1053_get_bitrate();
  ui_data.total_time = (song_list[g_player.current_index].size * 8) / (bitrate_kbps * 1000);
  ui_data.dirty_flag |= UI_DIRTY_TIME;
  xTaskNotifyGive(GuiUpdateTaskHandle); // 通知lvgl任务刷新
  /* USER CODE END CallbackPlayerTimer */
}
